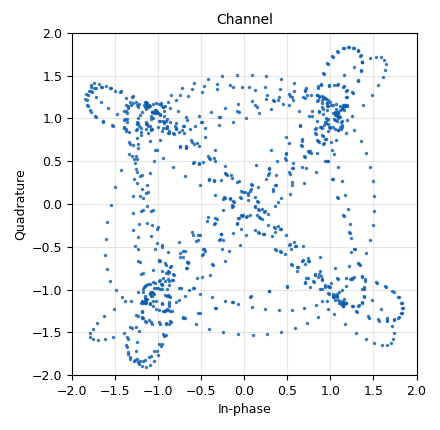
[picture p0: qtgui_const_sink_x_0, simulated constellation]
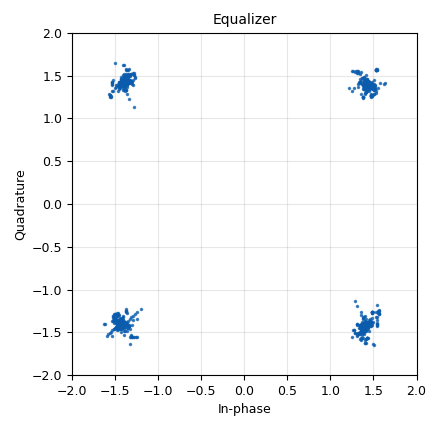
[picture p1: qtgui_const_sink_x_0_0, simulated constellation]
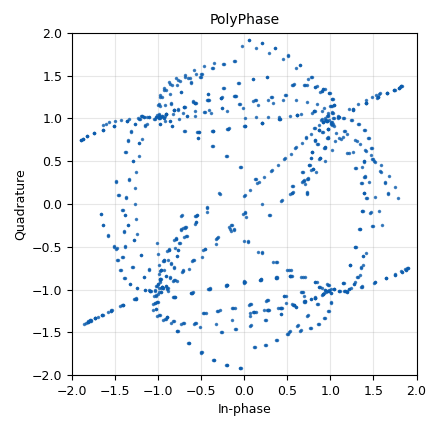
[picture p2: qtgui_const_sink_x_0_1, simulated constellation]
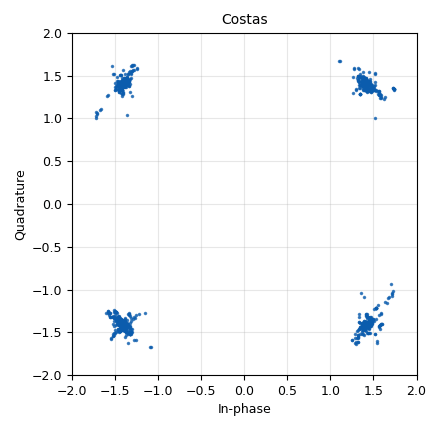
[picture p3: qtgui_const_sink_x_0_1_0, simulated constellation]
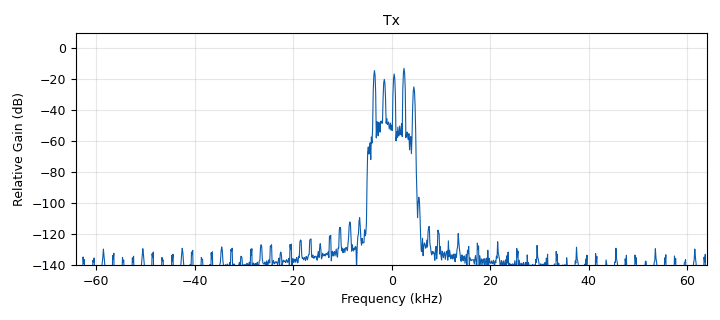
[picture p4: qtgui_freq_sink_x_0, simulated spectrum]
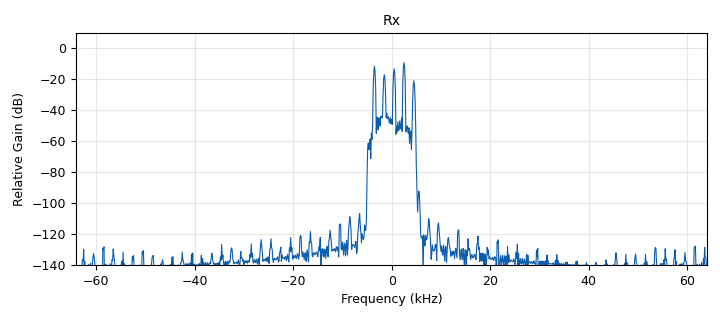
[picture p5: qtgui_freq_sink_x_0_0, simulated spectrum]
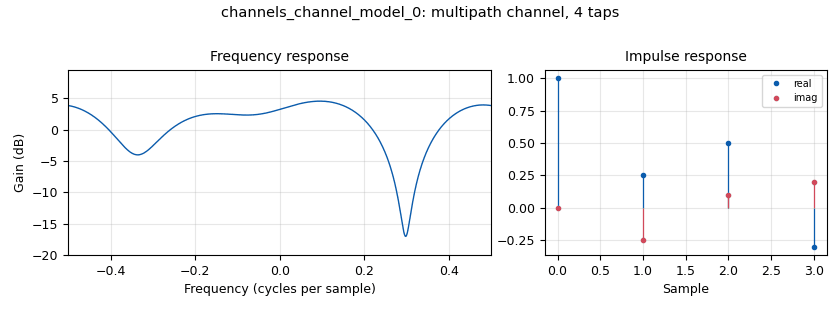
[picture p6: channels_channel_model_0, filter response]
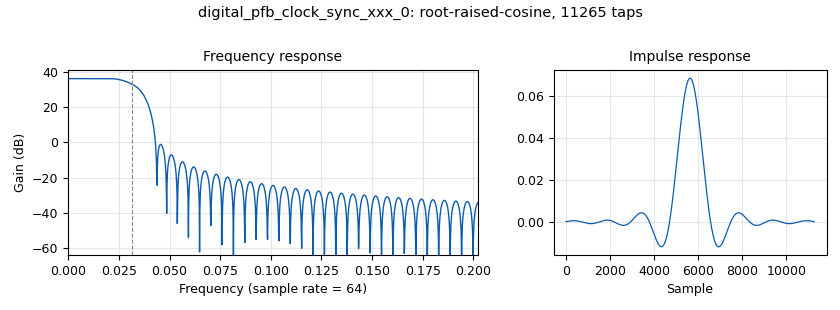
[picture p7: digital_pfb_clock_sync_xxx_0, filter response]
options:
  parameters:
    author: v-c
    generate_options: qt_gui
    id: QPSKPruebas1
    output_language: python
    title: Not titled yet
  states: {}

blocks:
- name: Bit_Rate
  id: variable
  parameters:
    comment: tasa de bits
    value: int(8e3)
  states: {}
- name: Bytes
  id: variable
  parameters:
    comment: Bytes a enviar
    value: int(Bit_Rate/8)
  states: {}
- name: CMA
  id: variable_adaptive_algorithm
  parameters:
    cons: QPSK
    modulus: '4'
    step_size: '.0001'
    type: cma
  states: {}
- name: Delay
  id: variable_qtgui_range
  parameters:
    min_len: '500'
    outputmsgname: value
    showports: 'False'
    start: '1'
    step: '1'
    stop: '1000'
    value: '190'
    widget: counter
  states: {}
- name: Frec_offset
  id: variable_qtgui_range
  parameters:
    outputmsgname: value
    showports: 'False'
    start: '-0.1'
    step: '0.01'
    stop: '0.1'
    value: '0'
  states: {}
- name: M
  id: variable
  parameters:
    comment: '# Puntos de Constelacion'
    value: '4'
  states: {}
- name: QPSK
  id: variable_constellation_rect
  parameters:
    const_points: '[-1-1j, -1+1j, 1+1j, 1-1j]'
    imag_sect: '2'
    real_sect: '2'
    rot_sym: '4'
    sym_map: '[0, 1, 3, 2]'
    w_imag_sect: '1'
    w_real_sect: '1'
  states: {}
- name: Symbol_Rate
  id: variable
  parameters:
    comment: tasa de simbolos
    value: Bit_Rate/bps
  states: {}
- name: Time_BW
  id: variable_qtgui_range
  parameters:
    outputmsgname: value
    showports: 'False'
    start: '0'
    step: '0.01'
    stop: '0.2'
    value: 2*3.141592/100
  states: {}
- name: bps
  id: variable
  parameters:
    comment: Bits por simbolo
    value: math.log(M,2)
  states: {}
- name: excess_bw
  id: variable
  parameters:
    value: '0.2'
  states: {}
- name: nfilts
  id: variable
  parameters:
    value: '64'
  states: {}
- name: noise
  id: variable_qtgui_range
  parameters:
    outputmsgname: value
    showports: 'False'
    start: '0'
    step: '0.1'
    stop: '1'
    value: '0'
  states: {}
- name: phase_bw
  id: variable
  parameters:
    value: '0.0628'
  states: {}
- name: rrc
  id: variable
  parameters:
    value: firdes.root_raised_cosine(1.0,samp_rate,samp_rate/sps,excess_bw,11*sps)
  states: {}
- name: rrc_taps
  id: variable
  parameters:
    value: firdes.root_raised_cosine(nfilts, nfilts, 1.0/float(sps), 0.35, 11*sps*nfilts)
  states: {}
- name: samp_rate
  id: variable
  parameters:
    value: Bit_Rate*sps
  states: {}
- name: sps
  id: variable
  parameters:
    value: '16'
  states: {}
- name: tapsChannel
  id: variable
  parameters:
    value: '[1.0, 0.25-0.25j, 0.50 + 0.10j, -0.3 + 0.2j]'
  states: {}
- name: time_offset
  id: variable_qtgui_range
  parameters:
    outputmsgname: value
    showports: 'False'
    start: '0.999'
    step: '100e-6'
    stop: '1.001'
    value: '1.000'
  states: {}
- name: time_offset_0
  id: variable
  parameters:
    value: '1.0'
  states: {}
- name: timing_loop_bw
  id: variable
  parameters:
    value: '0.0628'
  states: {}
- name: analog_random_source_x_0
  id: analog_random_source_x
  parameters:
    max: '255'
    min: '0'
    num_samps: Bytes
    repeat: 'False'
    type: byte
  states: {}
- name: blocks_char_to_float_0
  id: blocks_char_to_float
  parameters:
    scale: '1'
  states: {}
- name: blocks_char_to_float_0_0
  id: blocks_char_to_float
  parameters:
    scale: '1'
  states: {state: disabled}
- name: blocks_char_to_float_1
  id: blocks_char_to_float
  parameters:
    scale: '1'
  states: {}
- name: blocks_complex_to_float_0
  id: blocks_complex_to_float
  parameters: {}
  states: {state: disabled}
- name: blocks_delay_0
  id: blocks_delay
  parameters:
    delay: Delay
    type: float
  states: {}
- name: blocks_file_sink_0
  id: blocks_file_sink
  parameters:
    file: '"In.txt"'
    type: byte
  states: {state: disabled}
- name: blocks_file_sink_0_0
  id: blocks_file_sink
  parameters:
    file: '"Out.txt"'
    type: byte
  states: {state: disabled}
- name: blocks_multiply_const_vxx_0
  id: blocks_multiply_const_vxx
  parameters:
    const: reverse
    type: float
  states: {state: disabled}
- name: blocks_repeat_0
  id: blocks_repeat
  parameters:
    interp: '10'
    type: byte
  states: {}
- name: blocks_sub_xx_0
  id: blocks_sub_xx
  parameters:
    type: float
  states: {}
- name: blocks_throttle_0
  id: blocks_throttle
  parameters:
    samples_per_second: samp_rate
    type: complex
  states: {}
- name: blocks_unpack_k_bits_bb_0
  id: blocks_unpack_k_bits_bb
  parameters:
    k: '2'
  states: {}
- name: blocks_unpack_k_bits_bb_1
  id: blocks_unpack_k_bits_bb
  parameters:
    k: '8'
  states: {}
- name: channels_channel_model_0
  id: channels_channel_model
  parameters:
    epsilon: time_offset
    freq_offset: Frec_offset
    noise_voltage: noise
    seed: '0'
    taps: tapsChannel
  states: {}
- name: digital_binary_slicer_fb_0
  id: digital_binary_slicer_fb
  parameters: {}
  states: {state: disabled}
- name: digital_constellation_decoder_cb_0
  id: digital_constellation_decoder_cb
  parameters:
    constellation: QPSK
  states: {}
- name: digital_constellation_modulator_0
  id: digital_constellation_modulator
  parameters:
    constellation: QPSK
    differential: 'True'
    excess_bw: excess_bw
    samples_per_symbol: sps
  states: {}
- name: digital_costas_loop_cc_0
  id: digital_costas_loop_cc
  parameters:
    order: '4'
    w: excess_bw
  states: {}
- name: digital_diff_decoder_bb_0
  id: digital_diff_decoder_bb
  parameters:
    coding: digital.DIFF_DIFFERENTIAL
    modulus: '4'
  states: {}
- name: digital_linear_equalizer_0
  id: digital_linear_equalizer
  parameters:
    alg: CMA
    num_taps: '15'
    sps: int(sps/2)
  states: {}
- name: digital_map_bb_0
  id: digital_map_bb
  parameters:
    map: '[0, 1, 3, 2]'
  states: {}
- name: digital_pfb_clock_sync_xxx_0
  id: digital_pfb_clock_sync_xxx
  parameters:
    filter_size: nfilts
    init_phase: nfilts/2
    loop_bw: Time_BW
    max_dev: '1.5'
    osps: int(sps/2)
    sps: sps
    taps: rrc_taps
    type: ccf
  states: {}
- name: fir_filter_xxx_0
  id: fir_filter_xxx
  parameters:
    decim: '1'
    taps: rrc
    type: ccc
  states: {state: disabled}
- name: import_0
  id: import
  parameters:
    imports: import math
  states: {}
- name: import_scipy
  id: import
  parameters:
    imports: from scipy import fftpack
  states: {}
- name: qtgui_const_sink_x_0
  id: qtgui_const_sink_x
  parameters:
    gui_hint: qtgui_tab_widget_0@0
    name: '"Channel"'
    size: '1024'
    type: complex
  states: {}
- name: qtgui_const_sink_x_0_0
  id: qtgui_const_sink_x
  parameters:
    gui_hint: qtgui_tab_widget_0@2
    name: '"Equalizer"'
    size: '1024'
    type: complex
  states: {}
- name: qtgui_const_sink_x_0_1
  id: qtgui_const_sink_x
  parameters:
    gui_hint: qtgui_tab_widget_0@0
    name: '"PolyPhase"'
    size: '1024'
    type: complex
  states: {}
- name: qtgui_const_sink_x_0_1_0
  id: qtgui_const_sink_x
  parameters:
    gui_hint: qtgui_tab_widget_0@0
    name: '"Costas"'
    size: '1024'
    type: complex
  states: {}
- name: qtgui_freq_sink_x_0
  id: qtgui_freq_sink_x
  parameters:
    bw: samp_rate
    ctrlpanel: 'True'
    fc: '0'
    fftsize: '1024'
    gui_hint: qtgui_tab_widget_0@2
    name: '"Tx"'
    type: complex
  states: {}
- name: qtgui_freq_sink_x_0_0
  id: qtgui_freq_sink_x
  parameters:
    bw: samp_rate
    ctrlpanel: 'True'
    fc: '0'
    fftsize: '1024'
    gui_hint: qtgui_tab_widget_0@2
    name: '"Rx"'
    type: complex
  states: {}
- name: qtgui_tab_widget_0
  id: qtgui_tab_widget
  parameters:
    label0: Tab 0
    label1: Tab 1
    label2: Tab 2
    num_tabs: '3'
  states: {}
- name: qtgui_time_sink_x_1
  id: qtgui_time_sink_x
  parameters:
    ctrlpanel: 'True'
    gui_hint: qtgui_tab_widget_0@1
    nconnections: '3'
    size: '1024'
    srate: samp_rate
    type: float
  states: {}

connections:
- [analog_random_source_x_0, '0', blocks_repeat_0, '0']
- [blocks_char_to_float_0, '0', blocks_sub_xx_0, '0']
- [blocks_char_to_float_0, '0', qtgui_time_sink_x_1, '0']
- [blocks_char_to_float_1, '0', blocks_delay_0, '0']
- [blocks_complex_to_float_0, '0', blocks_multiply_const_vxx_0, '0']
- [blocks_delay_0, '0', blocks_sub_xx_0, '1']
- [blocks_delay_0, '0', qtgui_time_sink_x_1, '1']
- [blocks_multiply_const_vxx_0, '0', digital_binary_slicer_fb_0, '0']
- [blocks_repeat_0, '0', blocks_unpack_k_bits_bb_1, '0']
- [blocks_repeat_0, '0', digital_constellation_modulator_0, '0']
- [blocks_sub_xx_0, '0', qtgui_time_sink_x_1, '2']
- [blocks_throttle_0, '0', channels_channel_model_0, '0']
- [blocks_throttle_0, '0', qtgui_freq_sink_x_0, '0']
- [blocks_unpack_k_bits_bb_0, '0', blocks_char_to_float_0, '0']
- [blocks_unpack_k_bits_bb_0, '0', blocks_file_sink_0_0, '0']
- [blocks_unpack_k_bits_bb_1, '0', blocks_char_to_float_1, '0']
- [blocks_unpack_k_bits_bb_1, '0', blocks_file_sink_0, '0']
- [channels_channel_model_0, '0', digital_pfb_clock_sync_xxx_0, '0']
- [channels_channel_model_0, '0', qtgui_const_sink_x_0, '0']
- [channels_channel_model_0, '0', qtgui_freq_sink_x_0_0, '0']
- [digital_binary_slicer_fb_0, '0', blocks_char_to_float_0_0, '0']
- [digital_constellation_decoder_cb_0, '0', digital_diff_decoder_bb_0, '0']
- [digital_constellation_modulator_0, '0', blocks_throttle_0, '0']
- [digital_costas_loop_cc_0, '0', digital_constellation_decoder_cb_0, '0']
- [digital_costas_loop_cc_0, '0', qtgui_const_sink_x_0_1_0, '0']
- [digital_diff_decoder_bb_0, '0', digital_map_bb_0, '0']
- [digital_linear_equalizer_0, '0', digital_costas_loop_cc_0, '0']
- [digital_linear_equalizer_0, '0', qtgui_const_sink_x_0_0, '0']
- [digital_map_bb_0, '0', blocks_unpack_k_bits_bb_0, '0']
- [digital_pfb_clock_sync_xxx_0, '0', digital_linear_equalizer_0, '0']
- [digital_pfb_clock_sync_xxx_0, '0', qtgui_const_sink_x_0_1, '0']

metadata:
  file_format: 1
  grc_version: 3.10.4.0
